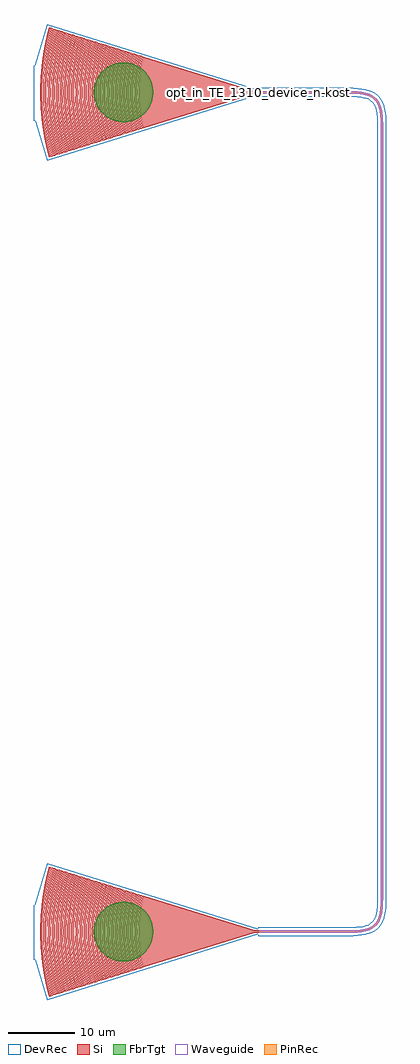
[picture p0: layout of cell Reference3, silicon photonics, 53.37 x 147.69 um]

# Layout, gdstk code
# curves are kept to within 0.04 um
import gdstk
lib = gdstk.Library(unit=1e-6, precision=1e-09)
def R(c, l, rs):  # rectangles x0, y0, x1, y1
    for r in rs: c.add(gdstk.rectangle(r[:2], r[2:], *l))
def P(c, l, *ps):  # polygons
    for p in ps: c.add(gdstk.Polygon(p, *l))
Si = (1, 0)
PinRec = (1, 10)
Waveguide = (1, 99)
DevRec = (68, 0)
FbrTgt = (81, 0)

ebeam_gc_te1310_8deg = lib.new_cell('ebeam_gc_te1310_8deg')
R(ebeam_gc_te1310_8deg, Si, [(-0.562,-0.175,0,0.175)])
P(ebeam_gc_te1310_8deg, Si, [(-31.654,-9.829),(-32.233,-7.428),(-32.649,-4.998),(-32.895,-2.639),(-32.989,-0.24),(-32.921,2.249),(-32.673,4.819),(-32.233,7.428),(-31.654,9.829),(-31.369,9.74),(-31.906,7.536),(-32.338,5.071),(-32.597,2.629),(-32.691,0.228),(-32.623,-2.239),(-32.382,-4.746),(-31.951,-7.319),(-31.369,-9.74)],
  [(-31.256,-9.705),(-31.534,-8.64),(-31.785,-7.538),(-32.029,-6.274),(-32.22,-5.062),(-32.371,-3.836),(-32.476,-2.664),(-32.547,-1.392),(-32.573,-0.227),(-32.56,0.997),(-32.504,2.25),(-32.403,3.521),(-32.26,4.768),(-32.157,5.493),(-32.061,6.089),(-31.85,7.224),(-31.576,8.466),(-31.433,9.044),(-31.256,9.705),(-31.198,9.687),(-31.508,8.489),(-31.782,7.253),(-32.011,6.019),(-32.196,4.789),(-32.337,3.564),(-32.421,2.581),(-32.487,1.37),(-32.512,0.246),(-32.5,-0.966),(-32.451,-2.118),(-32.361,-3.318),(-32.235,-4.485),(-32.085,-5.561),(-31.881,-6.748),(-31.738,-7.466),(-31.576,-8.2),(-31.399,-8.931),(-31.198,-9.687)],
  [(-30.517,-9.476),(-31.078,-7.138),(-31.463,-4.889),(-31.706,-2.583),(-31.799,-0.239),(-31.731,2.213),(-31.502,4.598),(-31.078,7.138),(-30.517,9.476),(-30.233,9.388),(-30.762,7.195),(-31.171,4.824),(-31.411,2.53),(-31.501,0.218),(-31.433,-2.203),(-31.197,-4.631),(-30.797,-7.024),(-30.233,-9.388)],
  [(-29.949,-9.299),(-30.482,-7.083),(-30.886,-4.717),(-31.111,-2.563),(-31.204,-0.237),(-31.131,2.274),(-30.904,4.582),(-30.511,6.941),(-29.949,9.299),(-29.664,9.211),(-30.209,6.931),(-30.581,4.748),(-30.816,2.51),(-30.906,0.225),(-30.836,-2.214),(-30.599,-4.615),(-30.209,-6.931),(-29.664,-9.211)],
  [(-25.006,-7.765),(-25.231,-6.871),(-25.433,-5.947),(-25.62,-4.934),(-25.764,-3.975),(-25.876,-3.022),(-25.952,-2.143),(-26.003,-1.237),(-26.028,-0.201),(-26.018,0.8),(-25.973,1.827),(-25.896,2.817),(-25.784,3.822),(-25.634,4.849),(-25.465,5.787),(-25.268,6.712),(-25.006,7.765),(-24.948,7.746),(-25.184,6.805),(-25.404,5.782),(-25.57,4.863),(-25.726,3.796),(-25.829,2.879),(-25.899,2.027),(-25.948,1.089),(-25.967,0.218),(-25.959,-0.722),(-25.924,-1.618),(-25.848,-2.674),(-25.742,-3.669),(-25.604,-4.652),(-25.404,-5.782),(-25.184,-6.805),(-24.948,-7.746)],
  [(-29.381,-9.123),(-29.898,-6.97),(-30.292,-4.67),(-30.518,-2.513),(-30.609,-0.234),(-30.542,2.161),(-30.326,4.414),(-29.938,6.773),(-29.381,9.123),(-29.096,9.035),(-29.619,6.847),(-29.991,4.671),(-30.223,2.46),(-30.311,0.222),(-30.247,-2.102),(-30.025,-4.418),(-29.638,-6.754),(-29.096,-9.035)],
  [(-28.984,-9),(-29.261,-7.918),(-29.506,-6.811),(-29.706,-5.744),(-29.877,-4.634),(-30.013,-3.504),(-30.104,-2.47),(-30.168,-1.323),(-30.193,-0.212),(-30.18,0.965),(-30.131,2.066),(-30.039,3.242),(-29.907,4.41),(-29.745,5.511),(-29.521,6.737),(-29.285,7.817),(-28.984,9),(-28.925,8.982),(-29.216,7.844),(-29.458,6.742),(-29.679,5.537),(-29.848,4.392),(-29.966,3.364),(-30.052,2.343),(-30.109,1.273),(-30.132,0.23),(-30.121,-0.897),(-30.078,-1.93),(-29.997,-3.036),(-29.881,-4.13),(-29.731,-5.212),(-29.562,-6.205),(-29.422,-6.917),(-29.252,-7.691),(-29.101,-8.315),(-28.925,-8.982)],
  [(-29.552,-9.176),(-29.829,-8.1),(-30.067,-7.036),(-30.286,-5.881),(-30.467,-4.711),(-30.558,-3.991),(-30.623,-3.384),(-30.699,-2.491),(-30.762,-1.358),(-30.788,-0.214),(-30.774,1.005),(-30.723,2.134),(-30.623,3.384),(-30.486,4.569),(-30.31,5.739),(-30.092,6.914),(-29.853,8),(-29.552,9.176),(-29.494,9.158),(-29.788,8.01),(-30.046,6.835),(-30.255,5.7),(-30.442,4.437),(-30.569,3.311),(-30.649,2.334),(-30.702,1.336),(-30.727,0.233),(-30.718,-0.823),(-30.667,-2.049),(-30.584,-3.15),(-30.466,-4.248),(-30.336,-5.192),(-30.163,-6.226),(-30.025,-6.938),(-29.851,-7.74),(-29.667,-8.502),(-29.494,-9.158)],
  [(-28.415,-8.823),(-28.695,-7.728),(-28.922,-6.698),(-29.118,-5.653),(-29.287,-4.558),(-29.43,-3.356),(-29.517,-2.337),(-29.575,-1.259),(-29.598,-0.209),(-29.584,0.99),(-29.533,2.095),(-29.448,3.174),(-29.313,4.364),(-29.155,5.433),(-28.935,6.634),(-28.695,7.728),(-28.415,8.823),(-28.357,8.805),(-28.634,7.721),(-28.883,6.584),(-29.083,5.495),(-29.248,4.392),(-29.376,3.285),(-29.457,2.323),(-29.512,1.313),(-29.537,0.237),(-29.527,-0.849),(-29.478,-1.998),(-29.398,-3.053),(-29.28,-4.143),(-29.119,-5.275),(-28.894,-6.529),(-28.634,-7.721),(-28.357,-8.805)],
  [(-27.676,-8.594),(-28.154,-6.592),(-28.517,-4.477),(-28.745,-2.282),(-28.824,-0.225),(-28.766,1.961),(-28.556,4.185),(-28.205,6.339),(-27.676,8.594),(-27.392,8.505),(-27.873,6.479),(-28.23,4.376),(-28.446,2.285),(-28.526,0.214),(-28.463,-2.031),(-28.247,-4.25),(-27.9,-6.345),(-27.392,-8.505)],
  [(-27.108,-8.417),(-27.587,-6.396),(-27.935,-4.343),(-28.151,-2.248),(-28.229,-0.227),(-28.165,2.04),(-27.959,4.163),(-27.587,6.396),(-27.108,8.417),(-26.823,8.329),(-27.302,6.302),(-27.638,4.315),(-27.852,2.251),(-27.931,0.215),(-27.871,-1.964),(-27.663,-4.128),(-27.325,-6.187),(-26.823,-8.329)],
  [(-31.086,-9.652),(-31.61,-7.501),(-32.052,-4.972),(-32.3,-2.619),(-32.394,-0.237),(-32.324,2.264),(-32.08,4.766),(-31.688,7.122),(-31.086,9.652),(-30.801,9.564),(-31.362,7.23),(-31.748,4.994),(-32.004,2.58),(-32.096,0.225),(-32.026,-2.253),(-31.786,-4.717),(-31.374,-7.172),(-30.801,-9.564)],
  [(-26.142,-8.117),(-26.39,-7.138),(-26.591,-6.222),(-26.788,-5.162),(-26.934,-4.201),(-27.049,-3.247),(-27.142,-2.184),(-27.191,-1.313),(-27.218,-0.203),(-27.209,0.775),(-27.16,1.911),(-27.082,2.915),(-26.963,3.983),(-26.801,5.083),(-26.612,6.118),(-26.394,7.121),(-26.142,8.117),(-26.084,8.099),(-26.319,7.174),(-26.575,5.992),(-26.754,4.996),(-26.905,3.956),(-27.009,3.038),(-27.088,2.082),(-27.138,1.108),(-27.157,0.229),(-27.147,-0.818),(-27.104,-1.828),(-27.036,-2.749),(-26.928,-3.773),(-26.775,-4.863),(-26.575,-5.992),(-26.319,-7.174),(-26.084,-8.099)],
  [(-25.403,-7.888),(-25.84,-6.033),(-26.167,-4.099),(-26.366,-2.186),(-26.444,-0.222),(-26.387,1.873),(-26.199,3.857),(-25.869,5.888),(-25.403,7.888),(-25.119,7.8),(-25.548,5.974),(-25.876,4.027),(-26.069,2.161),(-26.146,0.202),(-26.087,-1.895),(-25.903,-3.822),(-25.585,-5.788),(-25.119,-7.8)],
  [(-24.267,-7.535),(-24.667,-5.833),(-24.986,-3.955),(-25.177,-2.13),(-25.254,-0.215),(-25.198,1.819),(-25.016,3.728),(-24.715,5.592),(-24.267,7.535),(-23.982,7.447),(-24.39,5.7),(-24.697,3.871),(-24.883,2.064),(-24.956,0.204),(-24.895,-1.889),(-24.718,-3.709),(-24.413,-5.583),(-23.982,-7.447)],
  [(-21.994,-6.829),(-22.377,-5.153),(-22.638,-3.562),(-22.811,-1.851),(-22.874,-0.206),(-22.83,1.551),(-22.68,3.232),(-22.401,5.028),(-21.994,6.829),(-21.709,6.741),(-22.076,5.14),(-22.334,3.586),(-22.509,1.897),(-22.576,0.195),(-22.534,-1.507),(-22.384,-3.197),(-22.116,-4.932),(-21.709,-6.741)],
  [(-23.869,-7.412),(-24.088,-6.536),(-24.293,-5.582),(-24.448,-4.729),(-24.585,-3.815),(-24.69,-2.923),(-24.766,-2.046),(-24.818,-1.092),(-24.838,-0.195),(-24.828,0.785),(-24.781,1.822),(-24.704,2.783),(-24.597,3.725),(-24.448,4.729),(-24.293,5.582),(-24.088,6.536),(-23.869,7.412),(-23.811,7.394),(-24.033,6.504),(-24.237,5.552),(-24.407,4.603),(-24.54,3.691),(-24.637,2.842),(-24.711,1.958),(-24.759,1.039),(-24.777,0.22),(-24.771,-0.625),(-24.738,-1.511),(-24.675,-2.429),(-24.594,-3.246),(-24.467,-4.217),(-24.281,-5.323),(-24.061,-6.382),(-23.811,-7.394)],
  [(-23.13,-7.182),(-23.532,-5.443),(-23.813,-3.751),(-23.994,-1.991),(-24.064,-0.209),(-24.005,1.828),(-23.826,3.653),(-23.532,5.443),(-23.13,7.182),(-22.846,7.094),(-23.237,5.399),(-23.525,3.656),(-23.697,1.966),(-23.766,0.198),(-23.718,-1.644),(-23.547,-3.483),(-23.251,-5.33),(-22.846,-7.094)],
  [(-24.438,-7.588),(-24.67,-6.659),(-24.855,-5.805),(-25.02,-4.915),(-25.162,-3.987),(-25.269,-3.107),(-25.355,-2.149),(-25.411,-1.155),(-25.433,-0.202),(-25.423,0.793),(-25.373,1.888),(-25.293,2.872),(-25.191,3.77),(-25.045,4.765),(-24.883,5.664),(-24.672,6.65),(-24.438,7.588),(-24.38,7.57),(-24.619,6.609),(-24.822,5.659),(-24.992,4.712),(-25.134,3.736),(-25.235,2.84),(-25.309,1.934),(-25.353,1.077),(-25.372,0.219),(-25.363,-0.757),(-25.326,-1.657),(-25.262,-2.547),(-25.16,-3.527),(-25.016,-4.562),(-24.843,-5.551),(-24.636,-6.535),(-24.38,-7.57)],
  [(-23.699,-7.359),(-24.099,-5.641),(-24.399,-3.857),(-24.585,-2.069),(-24.659,-0.216),(-24.604,1.787),(-24.422,3.683),(-24.125,5.51),(-23.699,7.359),(-23.414,7.27),(-23.812,5.557),(-24.11,3.769),(-24.292,1.986),(-24.361,0.197),(-24.302,-1.839),(-24.123,-3.671),(-23.828,-5.476),(-23.414,-7.27)],
  [(-25.972,-8.064),(-26.42,-6.166),(-26.758,-4.168),(-26.964,-2.165),(-27.039,-0.225),(-26.983,1.874),(-26.779,4.01),(-26.453,6.001),(-25.972,8.064),(-25.687,7.976),(-26.133,6.081),(-26.454,4.192),(-26.66,2.237),(-26.741,0.205),(-26.685,-1.865),(-26.492,-3.906),(-26.164,-5.926),(-25.687,-7.976)],
  [(-22.165,-6.882),(-22.345,-6.156),(-22.53,-5.301),(-22.697,-4.383),(-22.813,-3.603),(-22.919,-2.698),(-22.989,-1.872),(-23.034,-1.032),(-23.053,-0.194),(-23.046,0.645),(-23.01,1.538),(-22.943,2.447),(-22.856,3.265),(-22.736,4.136),(-22.583,5.028),(-22.407,5.884),(-22.165,6.882),(-22.107,6.864),(-22.336,5.923),(-22.525,5.007),(-22.67,4.164),(-22.795,3.264),(-22.876,2.51),(-22.93,1.841),(-22.972,1.061),(-22.992,0.209),(-22.985,-0.651),(-22.954,-1.447),(-22.886,-2.4),(-22.809,-3.146),(-22.688,-4.047),(-22.525,-5.007),(-22.336,-5.923),(-22.107,-6.864)],
  [(-21.426,-6.653),(-21.776,-5.127),(-22.047,-3.494),(-22.213,-1.874),(-22.279,-0.202),(-22.236,1.517),(-22.077,3.262),(-21.809,4.958),(-21.426,6.653),(-21.141,6.564),(-21.466,5.157),(-21.737,3.562),(-21.917,1.834),(-21.981,0.192),(-21.936,-1.542),(-21.784,-3.203),(-21.511,-4.93),(-21.141,-6.564)],
  [(-19.721,-6.124),(-20.042,-4.7),(-20.288,-3.184),(-20.431,-1.769),(-20.494,-0.195),(-20.454,1.416),(-20.313,2.986),(-20.063,4.591),(-19.721,6.124),(-19.436,6.035),(-19.75,4.642),(-20.001,3.08),(-20.145,1.584),(-20.196,0.185),(-20.157,-1.388),(-20.018,-2.943),(-19.775,-4.51),(-19.436,-6.035)],
  [(-18.016,-5.594),(-18.318,-4.219),(-18.528,-2.88),(-18.654,-1.598),(-18.709,-0.194),(-18.674,1.28),(-18.545,2.743),(-18.327,4.171),(-18.016,5.594),(-17.732,5.506),(-18.02,4.192),(-18.23,2.862),(-18.363,1.484),(-18.411,0.177),(-18.377,-1.253),(-18.249,-2.708),(-18.045,-4.057),(-17.732,-5.506)],
  [(-22.562,-7.006),(-22.946,-5.341),(-23.224,-3.667),(-23.401,-1.943),(-23.469,-0.205),(-23.42,1.654),(-23.242,3.531),(-22.957,5.285),(-22.562,7.006),(-22.277,6.917),(-22.665,5.226),(-22.938,3.558),(-23.105,1.903),(-23.171,0.195),(-23.125,-1.593),(-22.966,-3.337),(-22.671,-5.195),(-22.277,-6.917)],
  [(-28.244,-8.77),(-28.736,-6.715),(-29.098,-4.619),(-29.328,-2.47),(-29.419,-0.228),(-29.353,2.107),(-29.138,4.323),(-28.762,6.587),(-28.244,8.77),(-27.96,8.682),(-28.455,6.602),(-28.806,4.554),(-29.031,2.445),(-29.121,0.217),(-29.062,-1.985),(-28.849,-4.234),(-28.486,-6.448),(-27.96,-8.682)],
  [(-25.574,-7.941),(-25.773,-7.162),(-26.013,-6.08),(-26.202,-5.06),(-26.355,-4.044),(-26.464,-3.119),(-26.549,-2.135),(-26.602,-1.151),(-26.623,-0.204),(-26.614,0.769),(-26.57,1.811),(-26.492,2.834),(-26.373,3.906),(-26.212,5),(-26.037,5.96),(-25.831,6.917),(-25.574,7.941),(-25.516,7.923),(-25.796,6.798),(-25.976,5.955),(-26.155,4.971),(-26.314,3.888),(-26.42,2.948),(-26.495,2.032),(-26.544,1.07),(-26.562,0.221),(-26.554,-0.732),(-26.518,-1.651),(-26.444,-2.689),(-26.344,-3.647),(-26.187,-4.774),(-26.011,-5.776),(-25.796,-6.798),(-25.516,-7.923)],
  [(-18.187,-5.647),(-18.328,-5.057),(-18.486,-4.293),(-18.595,-3.67),(-18.696,-2.976),(-18.777,-2.267),(-18.838,-1.528),(-18.873,-0.851),(-18.888,-0.18),(-18.881,0.595),(-18.852,1.3),(-18.802,1.998),(-18.726,2.735),(-18.624,3.485),(-18.5,4.218),(-18.367,4.88),(-18.187,5.647),(-18.129,5.629),(-18.292,4.939),(-18.452,4.143),(-18.559,3.508),(-18.673,2.665),(-18.736,2.053),(-18.784,1.42),(-18.816,0.738),(-18.827,0.193),(-18.823,-0.469),(-18.799,-1.151),(-18.758,-1.792),(-18.69,-2.514),(-18.578,-3.378),(-18.452,-4.143),(-18.292,-4.939),(-18.129,-5.629)],
  [(-19.892,-6.177),(-20.061,-5.478),(-20.229,-4.675),(-20.355,-3.962),(-20.463,-3.225),(-20.553,-2.442),(-20.61,-1.775),(-20.653,-1.011),(-20.673,-0.18),(-20.666,0.614),(-20.632,1.437),(-20.581,2.141),(-20.488,3.028),(-20.377,3.823),(-20.244,4.595),(-20.074,5.42),(-19.892,6.177),(-19.834,6.159),(-19.835,6.151),(-20.036,5.311),(-20.193,4.538),(-20.324,3.769),(-20.434,2.968),(-20.506,2.296),(-20.559,1.63),(-20.594,0.964),(-20.612,0.202),(-20.608,-0.487),(-20.58,-1.272),(-20.535,-1.96),(-20.462,-2.727),(-20.347,-3.616),(-20.209,-4.451),(-20.036,-5.311),(-19.835,-6.151),(-19.834,-6.159)],
  [(-26.711,-8.294),(-26.946,-7.371),(-27.187,-6.275),(-27.392,-5.156),(-27.531,-4.226),(-27.646,-3.257),(-27.735,-2.233),(-27.789,-1.251),(-27.813,-0.206),(-27.803,0.822),(-27.756,1.912),(-27.669,3.026),(-27.552,4.066),(-27.392,5.156),(-27.208,6.17),(-26.979,7.231),(-26.711,8.294),(-26.652,8.276),(-26.91,7.259),(-27.154,6.13),(-27.338,5.109),(-27.493,4.048),(-27.606,3.046),(-27.681,2.13),(-27.734,1.088),(-27.752,0.223),(-27.741,-0.865),(-27.699,-1.845),(-27.621,-2.886),(-27.512,-3.898),(-27.348,-5.047),(-27.154,-6.13),(-26.91,-7.259),(-26.652,-8.276)],
  [(-20.46,-6.353),(-20.66,-5.524),(-20.813,-4.786),(-20.95,-4.008),(-21.071,-3.16),(-21.157,-2.377),(-21.221,-1.554),(-21.252,-0.918),(-21.268,-0.184),(-21.262,0.581),(-21.231,1.382),(-21.17,2.235),(-21.083,3.063),(-20.964,3.919),(-20.813,4.786),(-20.66,5.524),(-20.46,6.353),(-20.402,6.335),(-20.593,5.545),(-20.764,4.719),(-20.905,3.904),(-21.02,3.077),(-21.1,2.333),(-21.158,1.587),(-21.191,0.923),(-21.207,0.205),(-21.202,-0.542),(-21.175,-1.289),(-21.121,-2.094),(-21.048,-2.839),(-20.928,-3.752),(-20.783,-4.617),(-20.611,-5.464),(-20.402,-6.335)],
  [(-30.12,-9.353),(-30.408,-8.236),(-30.651,-7.149),(-30.861,-6.047),(-31.061,-4.758),(-31.209,-3.502),(-31.292,-2.54),(-31.358,-1.345),(-31.383,-0.217),(-31.369,1.018),(-31.311,2.261),(-31.214,3.453),(-31.079,4.624),(-30.892,5.866),(-30.68,7.007),(-30.408,8.236),(-30.12,9.353),(-30.062,9.334),(-30.338,8.267),(-30.615,7.022),(-30.848,5.761),(-31.015,4.643),(-31.142,3.562),(-31.234,2.497),(-31.299,1.295),(-31.322,0.236),(-31.312,-0.871),(-31.265,-2.016),(-31.171,-3.265),(-31.052,-4.357),(-30.918,-5.321),(-30.733,-6.415),(-30.615,-7.022),(-30.444,-7.815),(-30.264,-8.567),(-30.062,-9.334)],
  [(-21.596,-6.706),(-21.787,-5.931),(-21.973,-5.052),(-22.104,-4.322),(-22.229,-3.482),(-22.323,-2.678),(-22.393,-1.864),(-22.44,-0.995),(-22.458,-0.187),(-22.449,0.715),(-22.407,1.655),(-22.342,2.484),(-22.246,3.351),(-22.136,4.126),(-21.973,5.052),(-21.787,5.931),(-21.596,6.706),(-21.538,6.688),(-21.73,5.907),(-21.921,5),(-22.08,4.088),(-22.205,3.187),(-22.29,2.385),(-22.351,1.573),(-22.382,0.914),(-22.397,0.209),(-22.39,-0.643),(-22.361,-1.395),(-22.31,-2.153),(-22.225,-3.018),(-22.107,-3.911),(-21.95,-4.847),(-21.749,-5.823),(-21.538,-6.688)],
  [(-19.153,-5.947),(-19.464,-4.558),(-19.701,-3.085),(-19.85,-1.547),(-19.899,-0.198),(-19.858,1.417),(-19.727,2.877),(-19.495,4.394),(-19.153,5.947),(-18.868,5.859),(-19.183,4.441),(-19.411,3.004),(-19.55,1.566),(-19.601,0.181),(-19.561,-1.389),(-19.426,-2.884),(-19.188,-4.415),(-18.868,-5.859)],
  [(-27.847,-8.647),(-28.101,-7.655),(-28.34,-6.575),(-28.527,-5.58),(-28.697,-4.481),(-28.828,-3.395),(-28.922,-2.316),(-28.978,-1.298),(-29.003,-0.216),(-28.991,0.913),(-28.942,2.013),(-28.85,3.176),(-28.724,4.28),(-28.559,5.39),(-28.351,6.521),(-28.101,7.655),(-27.847,8.647),(-27.789,8.629),(-28.055,7.585),(-28.288,6.525),(-28.493,5.415),(-28.665,4.262),(-28.775,3.315),(-28.862,2.302),(-28.919,1.25),(-28.942,0.234),(-28.933,-0.801),(-28.892,-1.826),(-28.81,-2.95),(-28.694,-4.035),(-28.539,-5.134),(-28.324,-6.345),(-28.072,-7.513),(-27.789,-8.629)],
  [(-17.448,-5.418),(-17.935,-2.829),(-18.114,-0.187),(-18.08,1.246),(-17.954,2.676),(-17.711,4.229),(-17.448,5.418)],
  [(-20.857,-6.476),(-21.201,-4.97),(-21.445,-3.503),(-21.617,-1.867),(-21.684,-0.202),(-21.641,1.501),(-21.492,3.146),(-21.233,4.804),(-20.857,6.476),(-20.573,6.388),(-20.938,4.76),(-21.183,3.215),(-21.328,1.728),(-21.386,0.192),(-21.344,-1.473),(-21.197,-3.103),(-20.938,-4.76),(-20.573,-6.388)],
  [(-20.289,-6.3),(-20.62,-4.842),(-20.876,-3.275),(-21.032,-1.705),(-21.089,-0.199),(-21.053,1.361),(-20.907,3.029),(-20.657,4.65),(-20.289,6.3),(-20.004,6.212),(-20.344,4.701),(-20.591,3.155),(-20.742,1.571),(-20.791,0.189),(-20.751,-1.423),(-20.612,-2.986),(-20.362,-4.606),(-20.004,-6.212)],
  [(-28.813,-8.947),(-29.333,-6.764),(-29.702,-4.594),(-29.923,-2.492),(-30.014,-0.231),(-29.951,2.078),(-29.732,4.369),(-29.348,6.69),(-28.813,8.947),(-28.528,8.858),(-29.037,6.724),(-29.401,4.594),(-29.626,2.467),(-29.716,0.219),(-29.653,-2.068),(-29.431,-4.372),(-29.063,-6.596),(-28.528,-8.858)],
  [(-18.584,-5.771),(-18.894,-4.373),(-19.116,-2.971),(-19.246,-1.661),(-19.304,-0.191),(-19.267,1.329),(-19.13,2.859),(-18.894,4.373),(-18.584,5.771),(-18.3,5.682),(-18.597,4.34),(-18.817,2.96),(-18.949,1.635),(-19.006,0.181),(-18.969,-1.322),(-18.846,-2.725),(-18.624,-4.196),(-18.3,-5.682)],
  [(-26.54,-8.241),(-26.998,-6.308),(-27.339,-4.31),(-27.551,-2.297),(-27.634,-0.224),(-27.575,1.94),(-27.37,4.079),(-27.014,6.229),(-26.54,8.241),(-26.255,8.152),(-26.713,6.214),(-27.053,4.202),(-27.259,2.202),(-27.336,0.212),(-27.282,-1.849),(-27.074,-4.044),(-26.734,-6.109),(-26.255,-8.152)],
  [(-24.835,-7.711),(-25.267,-5.866),(-25.573,-4.053),(-25.774,-2.124),(-25.849,-0.214),(-25.797,1.773),(-25.608,3.789),(-25.302,5.689),(-24.835,7.711),(-24.55,7.623),(-25.003,5.665),(-25.29,3.922),(-25.478,2.083),(-25.551,0.203),(-25.496,-1.812),(-25.312,-3.755),(-25.003,-5.665),(-24.55,-7.623)],
  [(-23.301,-7.235),(-23.521,-6.349),(-23.705,-5.49),(-23.867,-4.598),(-23.989,-3.784),(-24.092,-2.922),(-24.176,-1.955),(-24.224,-1.054),(-24.243,-0.196),(-24.233,0.776),(-24.193,1.691),(-24.121,2.629),(-24.024,3.516),(-23.886,4.481),(-23.724,5.393),(-23.521,6.349),(-23.301,7.235),(-23.243,7.217),(-23.453,6.373),(-23.66,5.404),(-23.817,4.526),(-23.944,3.661),(-24.044,2.793),(-24.116,1.939),(-24.161,1.109),(-24.182,0.212),(-24.176,-0.62),(-24.142,-1.516),(-24.085,-2.346),(-23.996,-3.239),(-23.864,-4.227),(-23.697,-5.211),(-23.486,-6.229),(-23.243,-7.217)],
  [(-21.028,-6.529),(-21.223,-5.73),(-21.377,-5.001),(-21.531,-4.141),(-21.638,-3.414),(-21.736,-2.57),(-21.8,-1.816),(-21.844,-1.008),(-21.863,-0.191),(-21.855,0.672),(-21.82,1.504),(-21.759,2.328),(-21.67,3.163),(-21.555,3.989),(-21.409,4.835),(-21.223,5.73),(-21.028,6.529),(-20.97,6.511),(-21.176,5.662),(-21.341,4.867),(-21.501,3.941),(-21.619,3.079),(-21.693,2.381),(-21.75,1.652),(-21.788,0.876),(-21.802,0.206),(-21.796,-0.594),(-21.764,-1.416),(-21.713,-2.153),(-21.634,-2.95),(-21.526,-3.775),(-21.372,-4.702),(-21.186,-5.617),(-20.97,-6.511)],
  [(-30.688,-9.529),(-30.976,-8.418),(-31.246,-7.209),(-31.441,-6.184),(-31.63,-4.986),(-31.769,-3.87),(-31.832,-3.238),(-31.888,-2.547),(-31.951,-1.406),(-31.978,-0.225),(-31.964,1.025),(-31.907,2.264),(-31.811,3.462),(-31.676,4.646),(-31.484,5.933),(-31.255,7.165),(-30.976,8.418),(-30.688,9.529),(-30.63,9.511),(-30.931,8.345),(-31.217,7.046),(-31.437,5.845),(-31.612,4.667),(-31.739,3.572),(-31.834,2.445),(-31.891,1.384),(-31.917,0.244),(-31.904,-0.994),(-31.857,-2.085),(-31.767,-3.28),(-31.643,-4.425),(-31.506,-5.411),(-31.326,-6.48),(-31.18,-7.228),(-31.007,-8.021),(-30.828,-8.763),(-30.63,-9.511)],
  [(-27.279,-8.47),(-27.537,-7.456),(-27.767,-6.408),(-27.953,-5.408),(-28.106,-4.412),(-28.241,-3.287),(-28.329,-2.267),(-28.384,-1.263),(-28.408,-0.213),(-28.397,0.865),(-28.347,1.996),(-28.259,3.107),(-28.135,4.196),(-27.974,5.282),(-27.767,6.408),(-27.537,7.456),(-27.279,8.47),(-27.221,8.452),(-27.495,7.369),(-27.706,6.403),(-27.923,5.217),(-28.076,4.178),(-28.195,3.136),(-28.274,2.181),(-28.321,1.314),(-28.347,0.23),(-28.337,-0.836),(-28.289,-1.946),(-28.217,-2.902),(-28.11,-3.909),(-27.956,-5.012),(-27.75,-6.181),(-27.495,-7.369),(-27.221,-8.452)],
  [(-17.619,-5.471),(-17.785,-4.76),(-17.91,-4.139),(-18.027,-3.455),(-18.121,-2.783),(-18.194,-2.116),(-18.244,-1.495),(-18.277,-0.866),(-18.293,-0.176),(-18.287,0.548),(-18.26,1.231),(-18.211,1.927),(-18.139,2.635),(-18.029,3.442),(-17.92,4.085),(-17.785,4.76),(-17.619,5.471),(-17.561,5.453),(-17.562,5.446),(-17.719,4.777),(-17.857,4.092),(-17.964,3.464),(-18.077,2.641),(-18.141,2.028),(-18.189,1.402),(-18.218,0.816),(-18.232,0.189),(-18.228,-0.465),(-18.204,-1.133),(-18.159,-1.819),(-18.103,-2.411),(-18.01,-3.156),(-17.88,-3.965),(-17.729,-4.731),(-17.562,-5.446),(-17.561,-5.453)],
  [(-18.755,-5.824),(-18.919,-5.138),(-19.052,-4.498),(-19.181,-3.771),(-19.289,-3.028),(-19.367,-2.346),(-19.431,-1.578),(-19.466,-0.914),(-19.483,-0.18),(-19.477,0.561),(-19.447,1.317),(-19.394,2.057),(-19.311,2.852),(-19.2,3.652),(-19.08,4.351),(-18.919,5.138),(-18.755,5.824),(-18.697,5.806),(-18.874,5.06),(-19.031,4.282),(-19.151,3.571),(-19.255,2.81),(-19.326,2.135),(-19.374,1.517),(-19.406,0.891),(-19.422,0.194),(-19.417,-0.525),(-19.394,-1.165),(-19.347,-1.889),(-19.28,-2.591),(-19.173,-3.424),(-19.055,-4.15),(-18.895,-4.963),(-18.697,-5.806)],
  [(-17.448,-5.418),(-17.448,5.418),(-0.562,0.175),(-0.562,-0.175)],
  [(-22.733,-7.059),(-22.95,-6.179),(-23.125,-5.359),(-23.283,-4.483),(-23.402,-3.686),(-23.501,-2.854),(-23.577,-1.989),(-23.63,-1.017),(-23.648,-0.197),(-23.638,0.768),(-23.601,1.623),(-23.536,2.494),(-23.423,3.526),(-23.292,4.428),(-23.122,5.373),(-22.95,6.179),(-22.733,7.059),(-22.675,7.041),(-22.902,6.116),(-23.11,5.114),(-23.271,4.17),(-23.4,3.214),(-23.484,2.392),(-23.54,1.623),(-23.572,0.934),(-23.587,0.213),(-23.581,-0.613),(-23.549,-1.463),(-23.484,-2.392),(-23.4,-3.214),(-23.271,-4.17),(-23.11,-5.114),(-22.902,-6.116),(-22.675,-7.041)],
  [(-19.324,-6),(-19.509,-5.223),(-19.656,-4.505),(-19.78,-3.792),(-19.876,-3.126),(-19.96,-2.394),(-20.026,-1.596),(-20.062,-0.897),(-20.078,-0.184),(-20.071,0.609),(-20.038,1.402),(-19.983,2.15),(-19.903,2.911),(-19.789,3.735),(-19.672,4.42),(-19.509,5.223),(-19.324,6),(-19.265,5.982),(-19.447,5.221),(-19.606,4.442),(-19.738,3.666),(-19.848,2.859),(-19.918,2.194),(-19.97,1.519),(-20.002,0.873),(-20.017,0.198),(-20.012,-0.528),(-19.986,-1.239),(-19.939,-1.95),(-19.867,-2.695),(-19.752,-3.574),(-19.627,-4.328),(-19.447,-5.221),(-19.265,-5.982)])
P(ebeam_gc_te1310_8deg, DevRec, [(-31.924,-10.344),(-33.73,-4.273),(-34,-4.273),(-34,4),(-33.811,4),(-31.925,10.345),(0,0.4),(0,-0.4)])
P(ebeam_gc_te1310_8deg, FbrTgt, [(-20.621,-4.5),(-21.495,-4.37),(-22.326,-4.073),(-23.084,-3.619),(-23.738,-3.026),(-24.264,-2.316),(-24.642,-1.518),(-24.857,-0.661),(-24.9,0.221),(-24.77,1.095),(-24.473,1.926),(-24.019,2.684),(-23.426,3.338),(-22.716,3.864),(-21.918,4.242),(-21.061,4.457),(-20.179,4.5),(-19.305,4.37),(-18.474,4.073),(-17.716,3.619),(-17.062,3.026),(-16.536,2.316),(-16.158,1.518),(-15.943,0.661),(-15.9,-0.221),(-16.03,-1.095),(-16.327,-1.926),(-16.781,-2.684),(-17.374,-3.338),(-18.084,-3.864),(-18.882,-4.242),(-19.739,-4.457)])
ebeam_gc_te1310_8deg.add(gdstk.FlexPath([(-0.05,0),(0.05,0)], 0.35, ends="flush", simple_path=True, layer=1, datatype=10))  # PinRec
ebeam_gc_te1310_8deg.add(gdstk.Label('http://dx.doi.org/10.1364/OE.22.020652', (-33,-2), layer=10, texttype=0))
ebeam_gc_te1310_8deg.add(gdstk.Label('TE 1310 8 deg', (-15.126,0.262), layer=10, texttype=0))
ebeam_gc_te1310_8deg.add(gdstk.Label('Ref: Yun Wang, Optics Express, 08/2014', (-33,0), layer=10, texttype=0))
ebeam_gc_te1310_8deg.add(gdstk.Label('Design by: Mustafa Hammood, 2020', (-15.718,-1.132), layer=10, texttype=0))
ebeam_gc_te1310_8deg.add(gdstk.Label('opt1', (0,0), layer=1, texttype=10))

waveguide_59 = lib.new_cell('Waveguide$59')
P(waveguide_59, Si, [(39.969,13.325),(39.969,13.675),(53.876,13.676),(54.87,13.714),(55.716,13.813),(56.783,14.118),(57.193,14.343),(57.61,14.703),(57.875,15.06),(58.089,15.49),(58.286,16.142),(58.392,16.762),(58.484,18.5),(58.484,135.5),(58.371,137.4),(58.09,138.509),(57.816,139.034),(57.535,139.376),(57.194,139.656),(56.669,139.93),(55.56,140.211),(53.659,140.325),(39.969,140.325),(39.969,140.675),(53.659,140.675),(55.441,140.581),(56.244,140.433),(57.049,140.143),(57.596,139.793),(58.032,139.335),(58.361,138.766),(58.593,138.084),(58.741,137.281),(58.825,136.145),(58.834,18.5),(58.74,16.718),(58.592,15.915),(58.413,15.36),(58.175,14.878),(57.87,14.467),(57.494,14.127),(57.048,13.856),(56.529,13.648),(55.776,13.469),(54.896,13.364),(53.88,13.326)])
P(waveguide_59, Waveguide, [(39.969,13.325),(39.969,13.675),(53.876,13.676),(54.87,13.714),(55.716,13.813),(56.783,14.118),(57.193,14.343),(57.61,14.703),(57.875,15.06),(58.089,15.49),(58.286,16.142),(58.392,16.762),(58.484,18.5),(58.484,135.5),(58.371,137.4),(58.09,138.509),(57.816,139.034),(57.535,139.376),(57.194,139.656),(56.669,139.93),(55.56,140.211),(53.659,140.325),(39.969,140.325),(39.969,140.675),(53.659,140.675),(55.441,140.581),(56.244,140.433),(57.049,140.143),(57.596,139.793),(58.032,139.335),(58.361,138.766),(58.593,138.084),(58.741,137.281),(58.825,136.145),(58.834,18.5),(58.74,16.718),(58.592,15.915),(58.413,15.36),(58.175,14.878),(57.87,14.467),(57.494,14.127),(57.048,13.856),(56.529,13.648),(55.776,13.469),(54.896,13.364),(53.88,13.326)])
P(waveguide_59, DevRec, [(39.969,12.825),(39.969,14.175),(53.659,14.175),(54.895,14.217),(55.867,14.352),(56.585,14.577),(57.083,14.885),(57.273,15.075),(57.581,15.573),(57.704,15.901),(57.885,16.744),(57.984,18.5),(57.984,135.5),(57.886,137.255),(57.705,138.098),(57.582,138.426),(57.274,138.924),(57.084,139.114),(56.586,139.422),(55.415,139.726),(53.658,139.825),(39.969,139.825),(39.969,141.175),(53.66,141.175),(55.601,141.064),(56.664,140.833),(57.138,140.654),(57.96,140.14),(58.3,139.8),(58.584,139.411),(58.993,138.504),(59.224,137.441),(59.324,136.198),(59.334,18.5),(59.223,16.558),(58.992,15.495),(58.813,15.021),(58.299,14.199),(57.57,13.575),(57.137,13.345),(56.153,13.032),(55.003,12.871),(53.659,12.825)])
waveguide_59.add(gdstk.FlexPath([(39.979,13.5),(39.959,13.5)], 0.35, ends="flush", simple_path=True, layer=1, datatype=10))  # PinRec
waveguide_59.add(gdstk.FlexPath([(39.979,140.5),(39.959,140.5)], 0.35, ends="flush", simple_path=True, layer=1, datatype=10))  # PinRec
waveguide_59.add(gdstk.Label('opt1', (39.969,13.5), layer=1, texttype=10))
waveguide_59.add(gdstk.Label('opt2', (39.969,140.5), layer=1, texttype=10))
waveguide_59.add(gdstk.Label('Lumerical_INTERCONNECT_library=Design kits/EBeam', (39.969,13.43), layer=68, texttype=0))
waveguide_59.add(gdstk.Label('Component=ebeam_wg_integral_1310', (39.969,13.57), layer=68, texttype=0))
waveguide_59.add(gdstk.Label('cellName=Waveguide', (39.969,13.64), layer=68, texttype=0))
waveguide_59.add(gdstk.Label('Spice_param:wg_length=0.000161287 wg_width=3.5e-07 points="[[39.969,13.5],[58.659,13.5],[58.659,140.5],[39.969,140.5]]" radius=5e-06', (39.969,13.5), layer=68, texttype=0))
waveguide_59.add(gdstk.Label('Length=161.287 (microns)', (39.969,13.08), layer=68, texttype=0))
waveguide_59.add(gdstk.Label('waveguide_type=Strip TE 1310 nm, w=350 nm', (39.969,13.36), layer=68, texttype=0))

reference3 = lib.new_cell('Reference3')
r = gdstk.Reference(ebeam_gc_te1310_8deg, (39.969,13.5)); r.repetition = gdstk.Repetition(1, 2, v1=(0,0), v2=(0,127)); reference3.add(r)
reference3.add(gdstk.Reference(waveguide_59, (0,0)))
reference3.add(gdstk.Label('opt_in_TE_1310_device_n-kostopoulos_Ref1310', (39.968,140.5), layer=10, texttype=0))

lib.write_gds('Reference3.gds')
